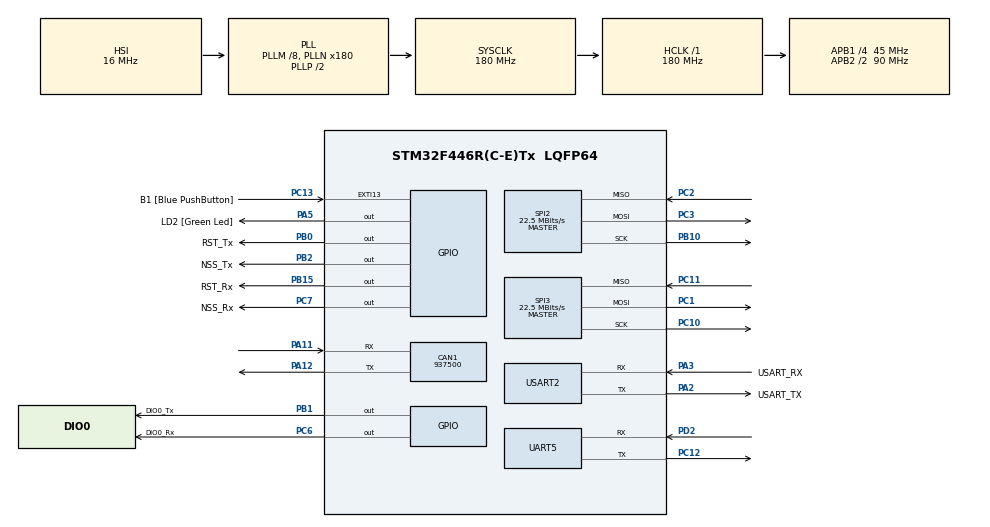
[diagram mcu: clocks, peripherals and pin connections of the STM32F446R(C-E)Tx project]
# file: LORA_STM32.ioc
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CAN1.CalculateBaudRate=937500
CAN1.CalculateTimeBit=1066
CAN1.CalculateTimeQuantum=355.55555555555554
Dma.Request0=UART5_RX
Dma.UART5_RX.0.Direction=DMA_PERIPH_TO_MEMORY
Dma.UART5_RX.0.FIFOMode=DMA_FIFOMODE_DISABLE
Dma.UART5_RX.0.Instance=DMA1_Stream0
Dma.UART5_RX.0.MemDataAlignment=DMA_MDATAALIGN_BYTE
Dma.UART5_RX.0.MemInc=DMA_MINC_ENABLE
Dma.UART5_RX.0.Mode=DMA_NORMAL
Dma.UART5_RX.0.PeriphDataAlignment=DMA_PDATAALIGN_BYTE
Dma.UART5_RX.0.PeriphInc=DMA_PINC_DISABLE
Dma.UART5_RX.0.Priority=DMA_PRIORITY_HIGH
Mcu.Family=STM32F4
Mcu.Name=STM32F446R(C-E)Tx
Mcu.Package=LQFP64
NVIC.DMA1_Stream0_IRQn=true\:0\:0\:false\:false\:true\:false\:true\:true
NVIC.PriorityGroup=NVIC_PRIORITYGROUP_0
PA11.Mode=CAN_Activate
PA11.Signal=CAN1_RX
PA12.Mode=CAN_Activate
PA12.Signal=CAN1_TX
PA13.GPIO_Label=TMS
PA13.Mode=Serial_Wire
PA13.Signal=SYS_JTMS-SWDIO
PA14.GPIO_Label=TCK
PA14.Mode=Serial_Wire
PA14.Signal=SYS_JTCK-SWCLK
PA2.GPIO_Label=USART_TX
PA2.Mode=Asynchronous
PA2.Signal=USART2_TX
PA3.GPIO_Label=USART_RX
PA3.Mode=Asynchronous
PA3.Signal=USART2_RX
PA5.GPIO_Label=LD2 [Green Led]
PA5.Signal=GPIO_Output
PB0.GPIO_Label=RST_Tx
PB0.Signal=GPIO_Output
PB1.GPIO_Label=DIO0_Tx
PB1.Signal=GPIO_Output
PB10.Mode=Full_Duplex_Master
PB10.Signal=SPI2_SCK
PB15.GPIO_Label=RST_Rx
PB15.Signal=GPIO_Output
PB2.GPIO_Label=NSS_Tx
PB2.Signal=GPIO_Output
PB3.GPIO_Label=SWO
PB3.Signal=SYS_JTDO-SWO
PC1.Mode=Full_Duplex_Master
PC1.Signal=SPI3_MOSI
PC10.Mode=Full_Duplex_Master
PC10.Signal=SPI3_SCK
PC11.Mode=Full_Duplex_Master
PC11.Signal=SPI3_MISO
PC12.Mode=Asynchronous
PC12.Signal=UART5_TX
PC13.GPIO_Label=B1 [Blue PushButton]
PC13.GPIO_ModeDefaultEXTI=GPIO_MODE_IT_FALLING
PC13.Signal=GPXTI13
PC14-OSC32_IN.Mode=LSE-External-Oscillator
PC14-OSC32_IN.Signal=RCC_OSC32_IN
PC15-OSC32_OUT.Mode=LSE-External-Oscillator
PC15-OSC32_OUT.Signal=RCC_OSC32_OUT
PC2.Mode=Full_Duplex_Master
PC2.Signal=SPI2_MISO
PC3.Mode=Full_Duplex_Master
PC3.Signal=SPI2_MOSI
PC6.GPIO_Label=DIO0_Rx
PC6.Signal=GPIO_Output
PC7.GPIO_Label=NSS_Rx
PC7.Signal=GPIO_Output
PD2.Mode=Asynchronous
PD2.Signal=UART5_RX
PH0-OSC_IN.Mode=HSE-External-Oscillator
PH0-OSC_IN.Signal=RCC_OSC_IN
PH1-OSC_OUT.Mode=HSE-External-Oscillator
PH1-OSC_OUT.Signal=RCC_OSC_OUT
ProjectManager.HeapSize=0x200
ProjectManager.StackSize=0x400
ProjectManager.TargetToolchain=STM32CubeIDE
RCC.48MHZClocksFreq_Value=84000000
RCC.AHBFreq_Value=180000000
RCC.APB1CLKDivider=RCC_HCLK_DIV4
RCC.APB1Freq_Value=45000000
RCC.APB1TimFreq_Value=90000000
RCC.APB2CLKDivider=RCC_HCLK_DIV2
RCC.APB2Freq_Value=90000000
RCC.APB2TimFreq_Value=180000000
RCC.CortexFreq_Value=180000000
RCC.FLatency-AdvancedSettings=FLASH_LATENCY_5
RCC.HCLKFreq_Value=180000000
RCC.HSE_VALUE=8000000
RCC.HSI_VALUE=16000000
RCC.PLLM=8
RCC.PLLN=180
RCC.SYSCLKFreq_VALUE=180000000
RCC.SYSCLKSource=RCC_SYSCLKSOURCE_PLLCLK
RCC.USBFreq_Value=180000000
RCC.VCOOutputFreq_Value=360000000
SPI2.CalculateBaudRate=22.5 MBits/s
SPI2.Direction=SPI_DIRECTION_2LINES
SPI2.Mode=SPI_MODE_MASTER
SPI2.VirtualType=VM_MASTER
SPI3.CalculateBaudRate=22.5 MBits/s
SPI3.Direction=SPI_DIRECTION_2LINES
SPI3.Mode=SPI_MODE_MASTER
SPI3.VirtualType=VM_MASTER
UART5.VirtualMode=Asynchronous
USART2.VirtualMode=VM_ASYNC
board=NUCLEO-F446RE

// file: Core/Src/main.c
/* USER CODE BEGIN Header */
/**
  ******************************************************************************
  * @file           : main.c
  * @brief          : Main program body
  ******************************************************************************
  * @attention
  *
  * Copyright (c) 2024 STMicroelectronics.
  * All rights reserved.
  *
  * This software is licensed under terms that can be found in the LICENSE file
  * in the root directory of this software component.
  * If no LICENSE file comes with this software, it is provided AS-IS.
  *
  ******************************************************************************
  */
/* USER CODE END Header */
#include "main.h"

/* USER CODE BEGIN PM */
LoRa LoRa_Receive;
LoRa LoRa_Transmit;

uint8_t read_data[128];
uint8_t send_data[128];
uint8_t isSent=1;

char buf[20];
char buf1[20];
char buf2[20];
char buf3[20];
char buf4[20];
char buf5[20];
TRxIBus *RxIBus;

/* USER CODE END PM */

CAN_HandleTypeDef hcan1;

SPI_HandleTypeDef hspi2;
SPI_HandleTypeDef hspi3;

UART_HandleTypeDef huart5;
UART_HandleTypeDef huart2;
DMA_HandleTypeDef hdma_uart5_rx;

void SystemClock_Config(void);
static void MX_GPIO_Init(void);
static void MX_DMA_Init(void);
static void MX_SPI3_Init(void);
static void MX_USART2_UART_Init(void);
static void MX_SPI2_Init(void);
static void MX_CAN1_Init(void);
static void MX_UART5_Init(void);
/* USER CODE BEGIN PFP */
void HAL_UART_RxCpltCallback(UART_HandleTypeDef *huart);
/* USER CODE END PFP */

/* USER CODE BEGIN 0 */
/*/void print_ibus_data(uint16_t *ibus_data, uint16_t length) {
	 char buffer[50];
	    for (int i = 0; i < length; i++) {
	        // Print each raw 16-bit value as a hexadecimal number
	        snprintf(buffer, sizeof(buffer), "Raw Channel %d: 0x%04X\n", i, ibus_data[i]);
	        HAL_UART_Transmit(&huart2, (uint8_t *)buffer, strlen(buffer), HAL_MAX_DELAY);
    }
}*/
/* USER CODE END 0 */

int main(void)
{

  /* MCU Configuration--------------------------------------------------------*/

  /* Reset of all peripherals, Initializes the Flash interface and the Systick. */
  HAL_Init();

  /* Configure the system clock */
  SystemClock_Config();

  /* Initialize all configured peripherals */
  MX_GPIO_Init();
  MX_DMA_Init();
  MX_SPI3_Init();
  MX_USART2_UART_Init();
  MX_SPI2_Init();
  MX_CAN1_Init();
  MX_UART5_Init();
  /* USER CODE BEGIN 2 */
  LoRa_Receive = newLoRa();
  LoRa_Transmit = newLoRa();

	LoRa_Receive.hSPIx                 = &hspi3;
	LoRa_Receive.CS_port               = NSS_Tx_GPIO_Port;
	LoRa_Receive.CS_pin                = NSS_Tx_Pin;
	LoRa_Receive.reset_port            = RST_Tx_GPIO_Port;
	LoRa_Receive.reset_pin             = RST_Tx_Pin;
	//LoRa_Receive.DIO0_port			 =   DIO0_Tx_GPIO_Port;
	///LoRa_Receive.DIO0_pin				 = DIO0_Tx_Pin;

	LoRa_Receive.frequency             = 450;							  // default = 433 MHz
	LoRa_Receive.spredingFactor        = SF_7;							// default = SF_7
	LoRa_Receive.bandWidth			 = BW_125KHz;				  // default = BW_125KHz
	LoRa_Receive.crcRate				 = CR_4_5;						// default = CR_4_5
	LoRa_Receive.power			     = POWER_20db;				// default = 20db
	LoRa_Receive.overCurrentProtection = 120; 							// default = 100 mA
	LoRa_Receive.preamble				 = 10;	// default = 8;

	LoRa_Transmit.hSPIx                 = &hspi2;
	LoRa_Transmit.CS_port               = NSS_Rx_GPIO_Port;
	LoRa_Transmit.CS_pin                = NSS_Rx_Pin;
	LoRa_Transmit.reset_port            = RST_Rx_GPIO_Port;
	LoRa_Transmit.reset_pin             = RST_Rx_Pin;
	LoRa_Transmit.DIO0_port			 	= DIO0_Rx_GPIO_Port;
	LoRa_Transmit.DIO0_pin				= DIO0_Rx_Pin;

	LoRa_Transmit.frequency             = 433;							  // default = 433 MHz
	LoRa_Transmit.spredingFactor        = SF_7;							// default = SF_7
	LoRa_Transmit.bandWidth			 = BW_125KHz;				  // default = BW_125KHz
	LoRa_Transmit.crcRate				 = CR_4_5;						// default = CR_4_5
	LoRa_Transmit.power			     = POWER_20db;				// default = 20db
	LoRa_Transmit.overCurrentProtection = 120; 							// default = 100 mA
	LoRa_Transmit.preamble				 = 10;

	LoRa_reset(&LoRa_Receive);
	LoRa_reset(&LoRa_Transmit);
	LoRa_init(&LoRa_Receive);
	LoRa_init(&LoRa_Transmit);
	HAL_UART_Transmit(&huart2, (uint8_t*)"Ready to receive!\n", 18, HAL_MAX_DELAY);

	 RxIBus = J3_IBUS_new(&huart5, 14);

	 HAL_UART_Receive_DMA(&huart5, RxIBus->buffer, 64);
	//HAL_UART_Transmit(&huart2, x, sizeof(x), 10);
	// START CONTINUOUS RECEIVING -----------------------------------
	//LoRa_startReceiving(&LoRa_Receive);
  /* USER CODE END 2 */

  /* Infinite loop */
  while (1)
  {

  }
}

void SystemClock_Config(void)
{
  RCC_OscInitTypeDef RCC_OscInitStruct = {0};
  RCC_ClkInitTypeDef RCC_ClkInitStruct = {0};

  /** Configure the main internal regulator output voltage
  */
  __HAL_RCC_PWR_CLK_ENABLE();
  __HAL_PWR_VOLTAGESCALING_CONFIG(PWR_REGULATOR_VOLTAGE_SCALE1);

  /** Initializes the RCC Oscillators according to the specified parameters
  * in the RCC_OscInitTypeDef structure.
  */
  RCC_OscInitStruct.OscillatorType = RCC_OSCILLATORTYPE_HSI;
  RCC_OscInitStruct.HSIState = RCC_HSI_ON;
  RCC_OscInitStruct.HSICalibrationValue = RCC_HSICALIBRATION_DEFAULT;
  RCC_OscInitStruct.PLL.PLLState = RCC_PLL_ON;
  RCC_OscInitStruct.PLL.PLLSource = RCC_PLLSOURCE_HSI;
  RCC_OscInitStruct.PLL.PLLM = 8;
  RCC_OscInitStruct.PLL.PLLN = 180;
  RCC_OscInitStruct.PLL.PLLP = RCC_PLLP_DIV2;
  RCC_OscInitStruct.PLL.PLLQ = 2;
  RCC_OscInitStruct.PLL.PLLR = 2;
  if (HAL_RCC_OscConfig(&RCC_OscInitStruct) != HAL_OK)
  {
    Error_Handler();
  }

  /** Activate the Over-Drive mode
  */
  if (HAL_PWREx_EnableOverDrive() != HAL_OK)
  {
    Error_Handler();
  }

  /** Initializes the CPU, AHB and APB buses clocks
  */
  RCC_ClkInitStruct.ClockType = RCC_CLOCKTYPE_HCLK|RCC_CLOCKTYPE_SYSCLK
                              |RCC_CLOCKTYPE_PCLK1|RCC_CLOCKTYPE_PCLK2;
  RCC_ClkInitStruct.SYSCLKSource = RCC_SYSCLKSOURCE_PLLCLK;
  RCC_ClkInitStruct.AHBCLKDivider = RCC_SYSCLK_DIV1;
  RCC_ClkInitStruct.APB1CLKDivider = RCC_HCLK_DIV4;
  RCC_ClkInitStruct.APB2CLKDivider = RCC_HCLK_DIV2;

  if (HAL_RCC_ClockConfig(&RCC_ClkInitStruct, FLASH_LATENCY_5) != HAL_OK)
  {
    Error_Handler();
  }
}

static void MX_CAN1_Init(void)
{

  hcan1.Instance = CAN1;
  hcan1.Init.Prescaler = 16;
  hcan1.Init.Mode = CAN_MODE_NORMAL;
  hcan1.Init.SyncJumpWidth = CAN_SJW_1TQ;
  hcan1.Init.TimeSeg1 = CAN_BS1_1TQ;
  hcan1.Init.TimeSeg2 = CAN_BS2_1TQ;
  hcan1.Init.TimeTriggeredMode = DISABLE;
  hcan1.Init.AutoBusOff = DISABLE;
  hcan1.Init.AutoWakeUp = DISABLE;
  hcan1.Init.AutoRetransmission = DISABLE;
  hcan1.Init.ReceiveFifoLocked = DISABLE;
  hcan1.Init.TransmitFifoPriority = DISABLE;
  if (HAL_CAN_Init(&hcan1) != HAL_OK)
  {
    Error_Handler();
  }

}

static void MX_SPI2_Init(void)
{

  /* SPI2 parameter configuration*/
  hspi2.Instance = SPI2;
  hspi2.Init.Mode = SPI_MODE_MASTER;
  hspi2.Init.Direction = SPI_DIRECTION_2LINES;
  hspi2.Init.DataSize = SPI_DATASIZE_8BIT;
  hspi2.Init.CLKPolarity = SPI_POLARITY_LOW;
  hspi2.Init.CLKPhase = SPI_PHASE_1EDGE;
  hspi2.Init.NSS = SPI_NSS_SOFT;
  hspi2.Init.BaudRatePrescaler = SPI_BAUDRATEPRESCALER_2;
  hspi2.Init.FirstBit = SPI_FIRSTBIT_MSB;
  hspi2.Init.TIMode = SPI_TIMODE_DISABLE;
  hspi2.Init.CRCCalculation = SPI_CRCCALCULATION_DISABLE;
  hspi2.Init.CRCPolynomial = 10;
  if (HAL_SPI_Init(&hspi2) != HAL_OK)
  {
    Error_Handler();
  }

}

static void MX_SPI3_Init(void)
{

  /* SPI3 parameter configuration*/
  hspi3.Instance = SPI3;
  hspi3.Init.Mode = SPI_MODE_MASTER;
  hspi3.Init.Direction = SPI_DIRECTION_2LINES;
  hspi3.Init.DataSize = SPI_DATASIZE_8BIT;
  hspi3.Init.CLKPolarity = SPI_POLARITY_LOW;
  hspi3.Init.CLKPhase = SPI_PHASE_1EDGE;
  hspi3.Init.NSS = SPI_NSS_SOFT;
  hspi3.Init.BaudRatePrescaler = SPI_BAUDRATEPRESCALER_2;
  hspi3.Init.FirstBit = SPI_FIRSTBIT_MSB;
  hspi3.Init.TIMode = SPI_TIMODE_DISABLE;
  hspi3.Init.CRCCalculation = SPI_CRCCALCULATION_DISABLE;
  hspi3.Init.CRCPolynomial = 10;
  if (HAL_SPI_Init(&hspi3) != HAL_OK)
  {
    Error_Handler();
  }

}

static void MX_UART5_Init(void)
{

  huart5.Instance = UART5;
  huart5.Init.BaudRate = 115200;
  huart5.Init.WordLength = UART_WORDLENGTH_8B;
  huart5.Init.StopBits = UART_STOPBITS_1;
  huart5.Init.Parity = UART_PARITY_NONE;
  huart5.Init.Mode = UART_MODE_TX_RX;
  huart5.Init.HwFlowCtl = UART_HWCONTROL_NONE;
  huart5.Init.OverSampling = UART_OVERSAMPLING_16;
  if (HAL_UART_Init(&huart5) != HAL_OK)
  {
    Error_Handler();
  }

}

static void MX_USART2_UART_Init(void)
{

  huart2.Instance = USART2;
  huart2.Init.BaudRate = 115200;
  huart2.Init.WordLength = UART_WORDLENGTH_8B;
  huart2.Init.StopBits = UART_STOPBITS_1;
  huart2.Init.Parity = UART_PARITY_NONE;
  huart2.Init.Mode = UART_MODE_TX_RX;
  huart2.Init.HwFlowCtl = UART_HWCONTROL_NONE;
  huart2.Init.OverSampling = UART_OVERSAMPLING_16;
  if (HAL_UART_Init(&huart2) != HAL_OK)
  {
    Error_Handler();
  }

}

static void MX_DMA_Init(void)
{

  /* DMA controller clock enable */
  __HAL_RCC_DMA1_CLK_ENABLE();

  /* DMA interrupt init */
  /* DMA1_Stream0_IRQn interrupt configuration */
  HAL_NVIC_SetPriority(DMA1_Stream0_IRQn, 0, 0);
  HAL_NVIC_EnableIRQ(DMA1_Stream0_IRQn);

}

static void MX_GPIO_Init(void)
{
  GPIO_InitTypeDef GPIO_InitStruct = {0};

  /* GPIO Ports Clock Enable */
  __HAL_RCC_GPIOC_CLK_ENABLE();
  __HAL_RCC_GPIOH_CLK_ENABLE();
  __HAL_RCC_GPIOA_CLK_ENABLE();
  __HAL_RCC_GPIOB_CLK_ENABLE();
  __HAL_RCC_GPIOD_CLK_ENABLE();

  /*Configure GPIO pin Output Level */
  HAL_GPIO_WritePin(LD2_GPIO_Port, LD2_Pin, GPIO_PIN_RESET);

  /*Configure GPIO pin Output Level */
  HAL_GPIO_WritePin(GPIOB, RST_Tx_Pin|DIO0_Tx_Pin|NSS_Tx_Pin|RST_Rx_Pin, GPIO_PIN_RESET);

  /*Configure GPIO pin Output Level */
  HAL_GPIO_WritePin(GPIOC, DIO0_Rx_Pin|NSS_Rx_Pin, GPIO_PIN_RESET);

  /*Configure GPIO pin : B1_Pin */
  GPIO_InitStruct.Pin = B1_Pin;
  GPIO_InitStruct.Mode = GPIO_MODE_IT_FALLING;
  GPIO_InitStruct.Pull = GPIO_NOPULL;
  HAL_GPIO_Init(B1_GPIO_Port, &GPIO_InitStruct);

  /*Configure GPIO pin : LD2_Pin */
  GPIO_InitStruct.Pin = LD2_Pin;
  GPIO_InitStruct.Mode = GPIO_MODE_OUTPUT_PP;
  GPIO_InitStruct.Pull = GPIO_NOPULL;
  GPIO_InitStruct.Speed = GPIO_SPEED_FREQ_LOW;
  HAL_GPIO_Init(LD2_GPIO_Port, &GPIO_InitStruct);

  /*Configure GPIO pins : RST_Tx_Pin DIO0_Tx_Pin NSS_Tx_Pin RST_Rx_Pin */
  GPIO_InitStruct.Pin = RST_Tx_Pin|DIO0_Tx_Pin|NSS_Tx_Pin|RST_Rx_Pin;
  GPIO_InitStruct.Mode = GPIO_MODE_OUTPUT_PP;
  GPIO_InitStruct.Pull = GPIO_NOPULL;
  GPIO_InitStruct.Speed = GPIO_SPEED_FREQ_LOW;
  HAL_GPIO_Init(GPIOB, &GPIO_InitStruct);

  /*Configure GPIO pins : DIO0_Rx_Pin NSS_Rx_Pin */
  GPIO_InitStruct.Pin = DIO0_Rx_Pin|NSS_Rx_Pin;
  GPIO_InitStruct.Mode = GPIO_MODE_OUTPUT_PP;
  GPIO_InitStruct.Pull = GPIO_NOPULL;
  GPIO_InitStruct.Speed = GPIO_SPEED_FREQ_LOW;
  HAL_GPIO_Init(GPIOC, &GPIO_InitStruct);

}

void Error_Handler(void)
{
  __disable_irq();
  while (1)
  {
  }
}
